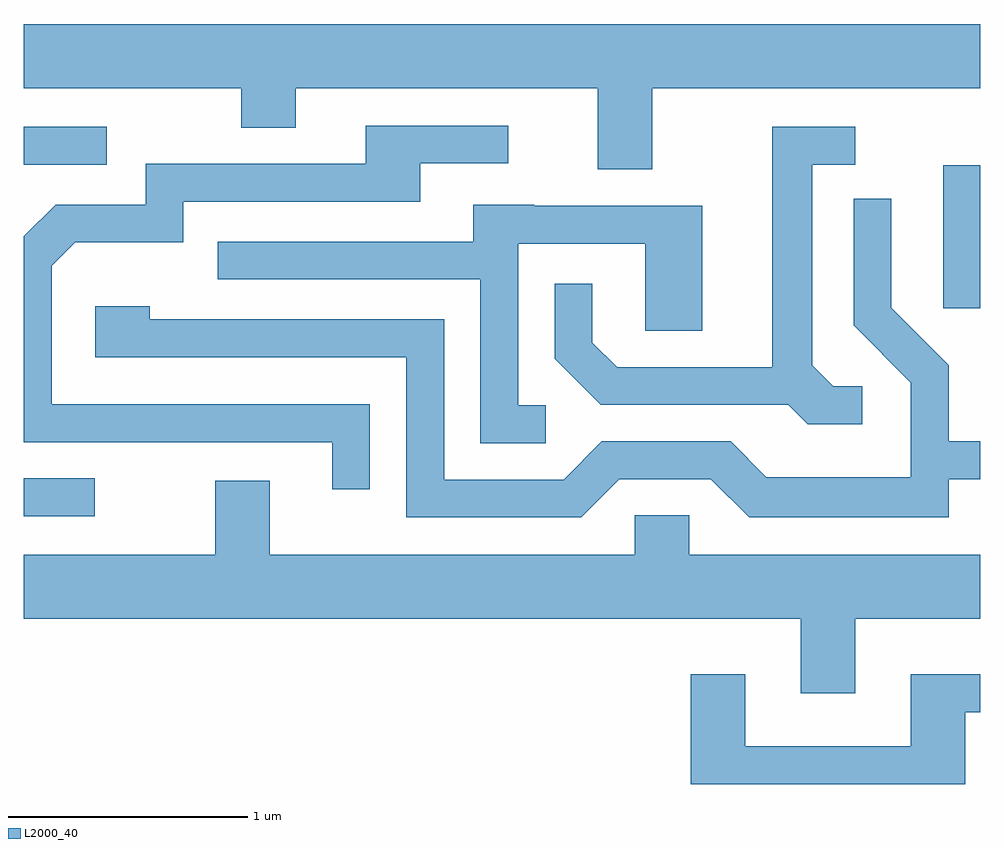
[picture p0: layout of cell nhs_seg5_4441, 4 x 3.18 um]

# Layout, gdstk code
import gdstk
lib = gdstk.Library(unit=1e-6, precision=1e-09)
def R(c, l, rs):  # rectangles x0, y0, x1, y1
    for r in rs: c.add(gdstk.rectangle(r[:2], r[2:], *l))
def P(c, l, *ps):  # polygons
    for p in ps: c.add(gdstk.Polygon(p, *l))
L2000_40 = (2000, 40)

nhs_seg5_4441 = lib.new_cell('nhs_seg5_4441')
R(nhs_seg5_4441, L2000_40, [(317.611,1417.266,317.908,1417.424), (321.456,1418.136,321.611,1418.734), (317.611,1418.736,317.958,1418.894)])
P(nhs_seg5_4441, L2000_40, [(317.611,1419.056),(318.521,1419.056),(318.521,1418.891),(318.749,1418.891),(318.749,1419.056),(320.011,1419.056),(320.011,1418.716),(320.239,1418.716),(320.239,1419.056),(321.611,1419.056),(321.611,1419.324),(317.611,1419.324)],
  [(319.059,1417.734),(317.729,1417.734),(317.729,1418.314),(317.827,1418.411),(318.279,1418.411),(318.279,1418.581),(319.269,1418.581),(319.269,1418.741),(319.638,1418.741),(319.638,1418.899),(319.041,1418.899),(319.041,1418.739),(318.121,1418.739),(318.121,1418.569),(317.744,1418.569),(317.611,1418.437),(317.611,1417.576),(318.901,1417.576),(318.901,1417.378),(319.059,1417.378)],
  [(321.118,1417.809),(320.997,1417.809),(320.909,1417.897),(320.909,1418.736),(321.088,1418.736),(321.088,1418.894),(320.741,1418.894),(320.741,1417.889),(320.092,1417.889),(319.989,1417.992),(319.989,1418.238),(319.831,1418.238),(319.831,1417.924),(320.024,1417.731),(320.809,1417.731),(320.889,1417.651),(321.118,1417.651)],
  [(320.102,1417.421),(320.484,1417.421),(320.644,1417.261),(321.479,1417.261),(321.479,1417.421),(321.611,1417.421),(321.611,1417.579),(321.479,1417.579),(321.479,1417.897),(321.239,1418.137),(321.239,1418.593),(321.081,1418.593),(321.081,1418.064),(321.321,1417.824),(321.321,1417.429),(320.717,1417.429),(320.567,1417.579),(320.029,1417.579),(319.869,1417.419),(319.369,1417.419),(319.369,1418.089),(318.139,1418.089),(318.139,1418.144),(317.911,1418.144),(317.911,1417.931),(319.211,1417.931),(319.211,1417.261),(319.942,1417.261)],
  [(319.793,1417.729),(319.679,1417.729),(319.679,1418.406),(320.211,1418.406),(320.211,1418.041),(320.449,1418.041),(320.449,1418.564),(319.745,1418.564),(319.745,1418.569),(319.491,1418.569),(319.491,1418.414),(318.423,1418.414),(318.423,1418.256),(319.521,1418.256),(319.521,1417.571),(319.793,1417.571)],
  [(321.089,1416.836),(321.611,1416.836),(321.611,1417.104),(320.394,1417.104),(320.394,1417.269),(320.166,1417.269),(320.166,1417.104),(318.639,1417.104),(318.639,1417.414),(318.411,1417.414),(318.411,1417.104),(317.611,1417.104),(317.611,1416.836),(320.861,1416.836),(320.861,1416.526),(321.089,1416.526)],
  [(321.549,1416.446),(321.611,1416.446),(321.611,1416.604),(321.321,1416.604),(321.321,1416.304),(320.629,1416.304),(320.629,1416.604),(320.401,1416.604),(320.401,1416.146),(321.549,1416.146)])

lib.write_gds('nhs_seg5_4441.gds')
